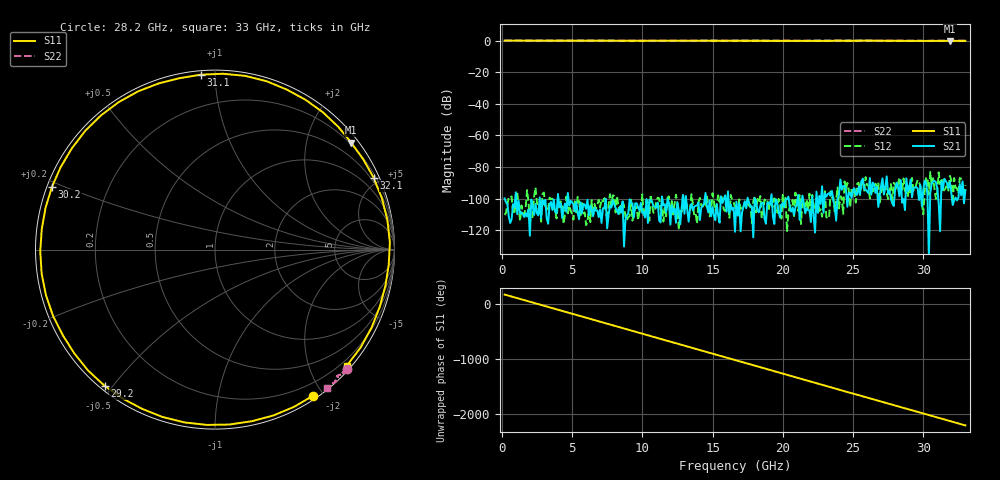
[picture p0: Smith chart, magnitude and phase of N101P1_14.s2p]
# GHZ S RI R 50
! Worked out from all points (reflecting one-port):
!   329 points, 200 MHz to 33 GHz, reference 50 ohm
!   lowest |S11| = -0.3 dB at 31.9 GHz (marker M1), VSWR 56.09, Z = 8.34 + j144 ohm
!   phase of S11 starts at 165 deg and turns -2367 deg over the sweep
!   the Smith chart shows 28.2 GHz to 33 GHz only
!   S11 on the Smith chart (normalised r, x): 28.2 GHz: 0.04, -1.88; 29.2 GHz: 0.01, -0.48; 30.2 GHz: 0.01, +0.19; 31.1 GHz: 0.02, +0.92; 32.1 GHz: 0.34, +4.62; 33 GHz: 0.09, -2.64
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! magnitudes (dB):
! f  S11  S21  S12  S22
! 200 MHz  0.0  -99.7  -110.2  0.0
! 5.7 GHz  -0.1  -109.1  -101.5  0.0
! 11.2 GHz  -0.1  -113.7  -99.8  -0.1
! 16.6 GHz  -0.1  -120.9  -104.9  0.0
! 21.3 GHz  -0.2  -104.2  -115.9  -0.1
! 22.1 GHz  -0.2  -98.2  -97.5  0.0
! 23.4 GHz  -0.2  -98.1  -95.4  0.0
! 24 GHz  0.0  -97.4  -106.1  0.0
! 24.3 GHz  -0.2  -92.0  -109.6  0.0
! 24.6 GHz  -0.1  -105.1  -90.0  0.0
! 25 GHz  -0.2  -94.4  -95.3  0.0
! 25.6 GHz  0.0  -88.8  -89.7  0.0
! 26.8 GHz  -0.1  -105.1  -89.7  0.0
! 27.6 GHz  -0.2  -95.1  -94.9  -0.1
! 28.2 GHz  -0.2  -92.1  -90.9  -0.1
! 29.2 GHz  -0.2  -99.1  -86.9  -0.1
! 30.2 GHz  -0.2  -89.3  -86.4  -0.2
! 31.1 GHz  -0.2  -103.0  -83.4  0.0
! 31.4 GHz  -0.2  -94.2  -94.6  -0.1
! 31.9 GHz  -0.3  -89.2  -85.5  -0.1
! 32.1 GHz  -0.3  -103.9  -103.2  0.0
! 33 GHz  -0.2  -94.5  -91.3  -0.1
